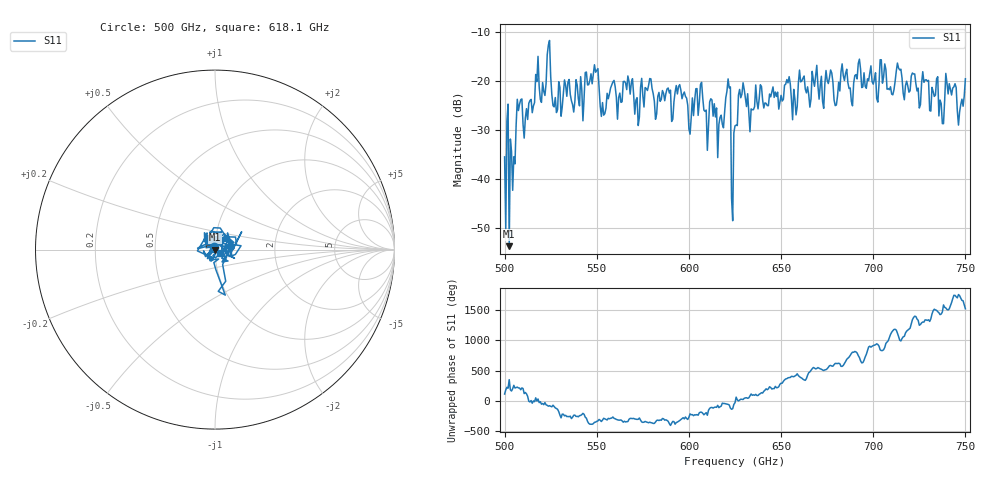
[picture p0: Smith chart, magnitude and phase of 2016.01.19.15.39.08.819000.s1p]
!Created with skrf (http://scikit-rf.org).
# GHz S RI R 50.0
!freq ReS11 ImS11
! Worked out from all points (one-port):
!   401 points, 500 GHz to 750 GHz, reference 50 ohm
!   lowest |S11| = -53.7 dB at 502.5 GHz (marker M1), VSWR 1.00, Z = 50.2 - j0.026 ohm
!   |S11| at or under -10 dB: start of sweep to end of sweep
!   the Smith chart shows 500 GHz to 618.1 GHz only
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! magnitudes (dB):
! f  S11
! 500 GHz  -35.5
! 502.5 GHz  -53.7
! 503.8 GHz  -34.4
! 508.1 GHz  -24.7
! 511.2 GHz  -27.6
! 523.8 GHz  -12.6
! 526.9 GHz  -25.3
! 531.2 GHz  -25.3
! 549.4 GHz  -18.2
! 553.1 GHz  -24.4
! 558.8 GHz  -20.2
! 562.5 GHz  -22.5
! 593.8 GHz  -22.6
! 616.9 GHz  -27.4
! 621.2 GHz  -19.6
! 623.1 GHz  -43.9
! 625 GHz  -29.1
! 628.8 GHz  -22.7
! 633.8 GHz  -25.7
! 656.2 GHz  -27.9
! 687.5 GHz  -21.4
! 691.9 GHz  -16.4
! 718.8 GHz  -21.0
! 728.1 GHz  -19.8
! 736.9 GHz  -24.6
! 740.6 GHz  -22.6
! 746.9 GHz  -26.2
! 750 GHz  -19.5
